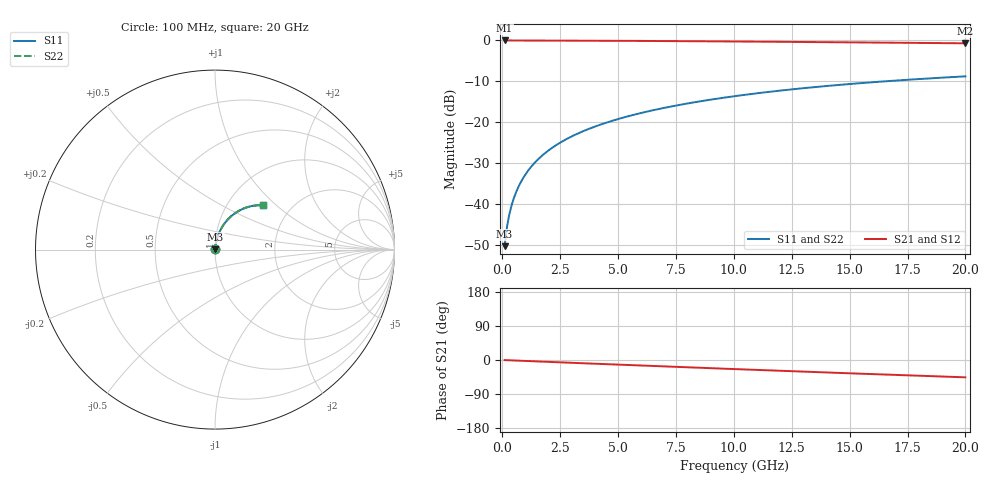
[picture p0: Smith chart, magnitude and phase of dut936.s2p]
! Touchstone file exported from HFSS 2026.1.0
!  File:  C:/ffzhzh/LocalFiles/Ansys_Project_Files/temp_train_TMRDL_936_1783158431_22436.aedt
!  Generated:  05:48:34 PM Jul  4, 2026
!  Design:  TMRDL
!  Project:  temp_train_TMRDL_936_1783158431_22436
! Variables:
!  h_bsmrdl = 2um
!  h_ox = 20um
!  h_rdl = 5um
!  h_sub = 80um
!  h_tmrdl = 5.9um
!  h_tsv = 80um
!  h_via = 3um
!  l_bsmrdl = 300um
!  l_sub = 1107.22um
!  l_tmrdl = 707.22um
!  m_sub = 200um
!  pitch = 53.86um
!  r_tsv = 6um
!  s_tmrdl = 10um
!  w_bsmrdl = 18um
!  w_sub = 500um
!  w_tmrdl = 26.52um
!  x_tsv_center1 = 720.48um
!  x_tsv_center2 = 1038.48um
!  x_tsv_center3 = 1772.22um
!  x_tsv_center4 = 2090.22um
!  x_tsv_center5 = 2823.96um
!  x_tsv_center6 = 3141.96um
# GHz S MA R 50.000000
! Terminal data exported
! Port[1] = TM_RDL1_1_T1
! Port[2] = TM_RDL1_1_T2
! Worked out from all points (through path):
!   200 points, 100 MHz to 20 GHz, reference 50 ohm
!   highest |S21| = -0.02 dB at 100 MHz (marker M1); lowest = -0.7 dB at 20 GHz (marker M2)
!   group delay of S21, straight-line fit = 6.35 ps
!   lowest |S11| = -50.2 dB at 100 MHz (marker M3), VSWR 1.01, Z = 50.2 + j0.251 ohm
!   |S11| at or under -10 dB: start of sweep to 16.49 GHz
!   |S22| runs from -50.2 to -8.8 dB; largest |S21 - S12| = 4.3e-14
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0.1  0.003086 54.0  0.9982 -0.3  0.9982 -0.3  0.003086 54.0
! Gamma 0 0 0 0
! Port Impedance 50 0 50 0
0.2  0.00526 67.5  0.998 -0.5  0.998 -0.5  0.00526 67.5
0.3  0.00747 72.9  0.9979 -0.8  0.9979 -0.8  0.00747 72.9
0.4  0.009685 75.9  0.9978 -1.0  0.9978 -1.0  0.009685 75.9
0.5  0.01191 77.8  0.9977 -1.3  0.9977 -1.3  0.01191 77.8
0.7  0.01639 79.9  0.9976 -1.8  0.9976 -1.8  0.01639 79.9
0.8  0.01864 80.5  0.9975 -2.0  0.9975 -2.0  0.01864 80.5
1  0.02315 81.2  0.9973 -2.5  0.9973 -2.5  0.02315 81.2
1.2  0.02765 81.5  0.997 -3.0  0.997 -3.0  0.02765 81.5
1.4  0.03215 81.5  0.9967 -3.5  0.9967 -3.5  0.03215 81.5
1.7  0.03886 81.3  0.9963 -4.2  0.9963 -4.2  0.03886 81.3
2  0.04553 80.9  0.9957 -5.0  0.9957 -5.0  0.04553 80.9
2.7  0.06091 79.7  0.9943 -6.7  0.9943 -6.7  0.06091 79.7
3.5  0.07817 78.1  0.9924 -8.6  0.9924 -8.6  0.07817 78.1
4.2  0.09302 76.6  0.9906 -10.3  0.9906 -10.3  0.09302 76.6
5  0.1097 74.9  0.9884 -12.2  0.9884 -12.2  0.1097 74.9
6.8  0.1464 70.9  0.9826 -16.5  0.9826 -16.5  0.1464 71.0
8.3  0.1759 67.7  0.9772 -20.0  0.9772 -20.0  0.1759 67.7
10.1  0.2099 63.7  0.9698 -24.1  0.9698 -24.1  0.2099 63.7
13.4  0.2678 56.6  0.9547 -31.6  0.9547 -31.6  0.2678 56.6
16.7  0.3193 49.6  0.9382 -38.8  0.9382 -38.8  0.3193 49.6
20  0.364 42.8  0.9215 -45.7  0.9215 -45.7  0.364 42.8
